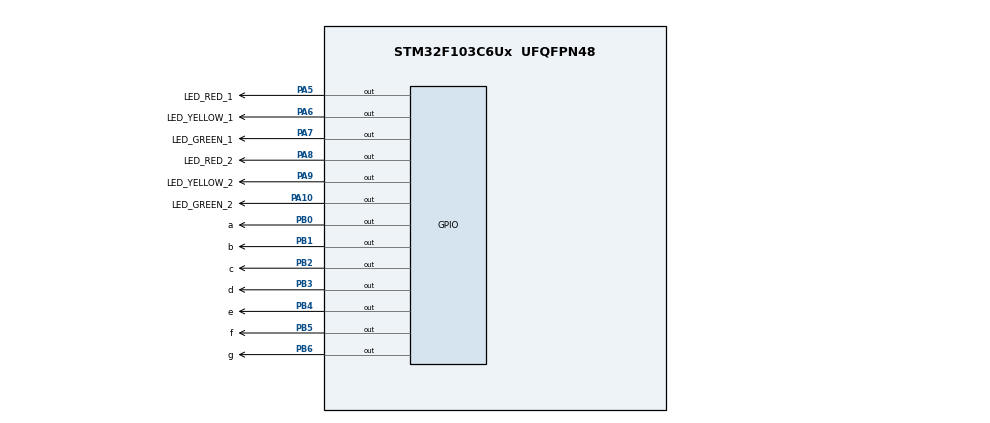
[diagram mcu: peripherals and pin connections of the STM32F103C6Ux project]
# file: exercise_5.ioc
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Mcu.Family=STM32F1
Mcu.Name=STM32F103C6Ux
Mcu.Package=UFQFPN48
NVIC.PriorityGroup=NVIC_PRIORITYGROUP_4
PA10.GPIO_Label=LED_GREEN_2
PA10.Signal=GPIO_Output
PA5.GPIO_Label=LED_RED_1
PA5.Signal=GPIO_Output
PA6.GPIO_Label=LED_YELLOW_1
PA6.Signal=GPIO_Output
PA7.GPIO_Label=LED_GREEN_1
PA7.Signal=GPIO_Output
PA8.GPIO_Label=LED_RED_2
PA8.Signal=GPIO_Output
PA9.GPIO_Label=LED_YELLOW_2
PA9.Signal=GPIO_Output
PB0.GPIO_Label=a
PB0.Signal=GPIO_Output
PB1.GPIO_Label=b
PB1.Signal=GPIO_Output
PB2.GPIO_Label=c
PB2.Signal=GPIO_Output
PB3.GPIO_Label=d
PB3.Signal=GPIO_Output
PB4.GPIO_Label=e
PB4.Signal=GPIO_Output
PB5.GPIO_Label=f
PB5.Signal=GPIO_Output
PB6.GPIO_Label=g
PB6.Signal=GPIO_Output
ProjectManager.HeapSize=0x200
ProjectManager.StackSize=0x400
ProjectManager.TargetToolchain=STM32CubeIDE
RCC.APB1Freq_Value=8000000
RCC.APB2Freq_Value=8000000
VP_SYS_VS_ND.Mode=No_Debug
board=custom

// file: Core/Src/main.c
/* USER CODE BEGIN Header */
/**
  ******************************************************************************
  * @file           : main.c
  * @brief          : Main program body
  ******************************************************************************
  * @attention
  *
  * <h2><center>&copy; Copyright (c) 2025 STMicroelectronics.
  * All rights reserved.</center></h2>
  *
  * This software component is licensed by ST under BSD 3-Clause license,
  * the "License"; You may not use this file except in compliance with the
  * License. You may obtain a copy of the License at:
  *                        opensource.org/licenses/BSD-3-Clause
  *
  ******************************************************************************
  */
/* USER CODE END Header */
#include "main.h"

/* USER CODE BEGIN PD */
#define ON 0
#define OFF 1
#define INIT 0
//only define state off 1 way -> STOP_1 = GO_2 + SLOW_2 and GO_1 + SLOW_1 = STOP_2
#define STOP_1 1
#define SLOW_1 2
#define GO_1 3
/* USER CODE END PD */

/* USER CODE BEGIN PV */
uint8_t state = INIT;
uint16_t counter = 0;
uint8_t led7seg_num_display[] = {
		/*0*/ 0x40,/*0b1000000*/
		/*1*/ 0x79,/*0b11111001*/
		/*2*/ 0x24,/*0b0100100*/
		/*3*/ 0x30,/*0b0110000*/
		/*4*/ 0x19,/*0b0011001*/
		/*5*/ 0x12,/*0b0010010*/
		/*6*/ 0x02,/*0b0000010*/
		/*7*/ 0x78,/*0b1111000*/
		/*8*/ 0x00,/*0b0000000*/
		/*9*/ 0x10/*0b0010000*/
};
uint8_t prev_num = 255;
/* USER CODE END PV */

void SystemClock_Config(void);
static void MX_GPIO_Init(void);
/* USER CODE BEGIN PFP */
void red_led (uint8_t state, uint8_t way);
void yellow_led (uint8_t state, uint8_t way);
void green_led (uint8_t state, uint8_t way);
void display7SEG(uint8_t num);
/* USER CODE END PFP */

int main(void)
{

  /* MCU Configuration--------------------------------------------------------*/

  /* Reset of all peripherals, Initializes the Flash interface and the Systick. */
  HAL_Init();

  /* Configure the system clock */
  SystemClock_Config();

  /* Initialize all configured peripherals */
  MX_GPIO_Init();

  /* Infinite loop */
  /* USER CODE BEGIN WHILE */
  while (1)
  {
	  HAL_Delay(10);
	  if (counter > 0){
		  counter --;
	  }

	  switch (state){
	  case INIT:
		  red_led(OFF, 1);
		  yellow_led(OFF, 1);
		  green_led(OFF, 1);
		  red_led(OFF, 2);
		  yellow_led(OFF, 2);
		  green_led(OFF, 2);
		  counter = 500;
		  state = STOP_1;
		  red_led(ON, 1);
		  green_led(ON, 2);
		  break;
	  case STOP_1:
		  if (counter <= 200){
			  green_led(OFF, 2);
			  yellow_led(ON, 2);
		  }
		  if (counter <= 0){
			  red_led (OFF, 1);
			  counter = 300;
			  state = GO_1;
			  green_led(ON, 1);
			  red_led (ON, 2);
			  yellow_led(OFF, 2);
		  }
		  break;
	  case GO_1:
		  if (counter <= 0){
			  green_led (OFF, 1);
			  counter = 200;
			  state = SLOW_1;
			  yellow_led(ON, 1);
		  }
		  break;
	  case SLOW_1:
		  if (counter <= 0){
			  yellow_led(OFF, 1);
			  red_led(OFF, 2);
			  green_led(ON, 2);
			  counter = 500;
			  state = STOP_1;
			  red_led(ON, 1);
		  }
		  break;
	  default:
		  break;
	  }
	  uint8_t curr_num = (counter + 99)/ 100;
	  if (curr_num != prev_num){
		  prev_num = curr_num;
		  display7SEG(curr_num);
	  }
    /* USER CODE END WHILE */

  }
}

void SystemClock_Config(void)
{
  RCC_OscInitTypeDef RCC_OscInitStruct = {0};
  RCC_ClkInitTypeDef RCC_ClkInitStruct = {0};

  /** Initializes the RCC Oscillators according to the specified parameters
  * in the RCC_OscInitTypeDef structure.
  */
  RCC_OscInitStruct.OscillatorType = RCC_OSCILLATORTYPE_HSI;
  RCC_OscInitStruct.HSIState = RCC_HSI_ON;
  RCC_OscInitStruct.HSICalibrationValue = RCC_HSICALIBRATION_DEFAULT;
  RCC_OscInitStruct.PLL.PLLState = RCC_PLL_NONE;
  if (HAL_RCC_OscConfig(&RCC_OscInitStruct) != HAL_OK)
  {
    Error_Handler();
  }
  /** Initializes the CPU, AHB and APB buses clocks
  */
  RCC_ClkInitStruct.ClockType = RCC_CLOCKTYPE_HCLK|RCC_CLOCKTYPE_SYSCLK
                              |RCC_CLOCKTYPE_PCLK1|RCC_CLOCKTYPE_PCLK2;
  RCC_ClkInitStruct.SYSCLKSource = RCC_SYSCLKSOURCE_HSI;
  RCC_ClkInitStruct.AHBCLKDivider = RCC_SYSCLK_DIV1;
  RCC_ClkInitStruct.APB1CLKDivider = RCC_HCLK_DIV1;
  RCC_ClkInitStruct.APB2CLKDivider = RCC_HCLK_DIV1;

  if (HAL_RCC_ClockConfig(&RCC_ClkInitStruct, FLASH_LATENCY_0) != HAL_OK)
  {
    Error_Handler();
  }
}

static void MX_GPIO_Init(void)
{
  GPIO_InitTypeDef GPIO_InitStruct = {0};

  /* GPIO Ports Clock Enable */
  __HAL_RCC_GPIOA_CLK_ENABLE();
  __HAL_RCC_GPIOB_CLK_ENABLE();

  /*Configure GPIO pin Output Level */
  HAL_GPIO_WritePin(GPIOA, LED_RED_1_Pin|LED_YELLOW_1_Pin|LED_GREEN_1_Pin|LED_RED_2_Pin
                          |LED_YELLOW_2_Pin|LED_GREEN_2_Pin, GPIO_PIN_RESET);

  /*Configure GPIO pin Output Level */
  HAL_GPIO_WritePin(GPIOB, a_Pin|b_Pin|c_Pin|d_Pin
                          |e_Pin|f_Pin|g_Pin, GPIO_PIN_RESET);

  /*Configure GPIO pins : LED_RED_1_Pin LED_YELLOW_1_Pin LED_GREEN_1_Pin LED_RED_2_Pin
                           LED_YELLOW_2_Pin LED_GREEN_2_Pin */
  GPIO_InitStruct.Pin = LED_RED_1_Pin|LED_YELLOW_1_Pin|LED_GREEN_1_Pin|LED_RED_2_Pin
                          |LED_YELLOW_2_Pin|LED_GREEN_2_Pin;
  GPIO_InitStruct.Mode = GPIO_MODE_OUTPUT_PP;
  GPIO_InitStruct.Pull = GPIO_NOPULL;
  GPIO_InitStruct.Speed = GPIO_SPEED_FREQ_LOW;
  HAL_GPIO_Init(GPIOA, &GPIO_InitStruct);

  /*Configure GPIO pins : a_Pin b_Pin c_Pin d_Pin
                           e_Pin f_Pin g_Pin */
  GPIO_InitStruct.Pin = a_Pin|b_Pin|c_Pin|d_Pin
                          |e_Pin|f_Pin|g_Pin;
  GPIO_InitStruct.Mode = GPIO_MODE_OUTPUT_PP;
  GPIO_InitStruct.Pull = GPIO_NOPULL;
  GPIO_InitStruct.Speed = GPIO_SPEED_FREQ_LOW;
  HAL_GPIO_Init(GPIOB, &GPIO_InitStruct);

}

/* USER CODE BEGIN 4 */
void red_led (uint8_t state, uint8_t way){
	if (way == 1){
		HAL_GPIO_WritePin(LED_RED_1_GPIO_Port, LED_RED_1_Pin, state);
	}else if (way == 2){
		HAL_GPIO_WritePin(LED_RED_2_GPIO_Port, LED_RED_2_Pin, state);
	}else{
		return;
	}
}
void yellow_led (uint8_t state, uint8_t way){
	if (way == 1){
		HAL_GPIO_WritePin(LED_YELLOW_1_GPIO_Port, LED_YELLOW_1_Pin, state);
	}else if (way == 2){
		HAL_GPIO_WritePin(LED_YELLOW_2_GPIO_Port, LED_YELLOW_2_Pin, state);
	}else{
		return;
	}

}
void green_led (uint8_t state, uint8_t way){
	if (way == 1){
		HAL_GPIO_WritePin(LED_GREEN_1_GPIO_Port, LED_GREEN_1_Pin, state);
	}else if (way == 2){
		HAL_GPIO_WritePin(LED_GREEN_2_GPIO_Port, LED_GREEN_2_Pin, state);
	}else{
		return;
	}
}
void display7SEG(uint8_t num){
	HAL_GPIO_WritePin(a_GPIO_Port, a_Pin, !((~led7seg_num_display[num]) & (1 << 0)));
	HAL_GPIO_WritePin(b_GPIO_Port, b_Pin, !((~led7seg_num_display[num]) & (1 << 1)));
	HAL_GPIO_WritePin(c_GPIO_Port, c_Pin, !((~led7seg_num_display[num]) & (1 << 2)));
	HAL_GPIO_WritePin(d_GPIO_Port, d_Pin, !((~led7seg_num_display[num]) & (1 << 3)));
	HAL_GPIO_WritePin(e_GPIO_Port, e_Pin, !((~led7seg_num_display[num]) & (1 << 4)));
	HAL_GPIO_WritePin(f_GPIO_Port, f_Pin, !((~led7seg_num_display[num]) & (1 << 5)));
	HAL_GPIO_WritePin(g_GPIO_Port, g_Pin, !((~led7seg_num_display[num]) & (1 << 6)));
}
/* USER CODE END 4 */

void Error_Handler(void)
{
  __disable_irq();
  while (1)
  {
  }
}

/************************ (C) COPYRIGHT STMicroelectronics *****END OF FILE****/
